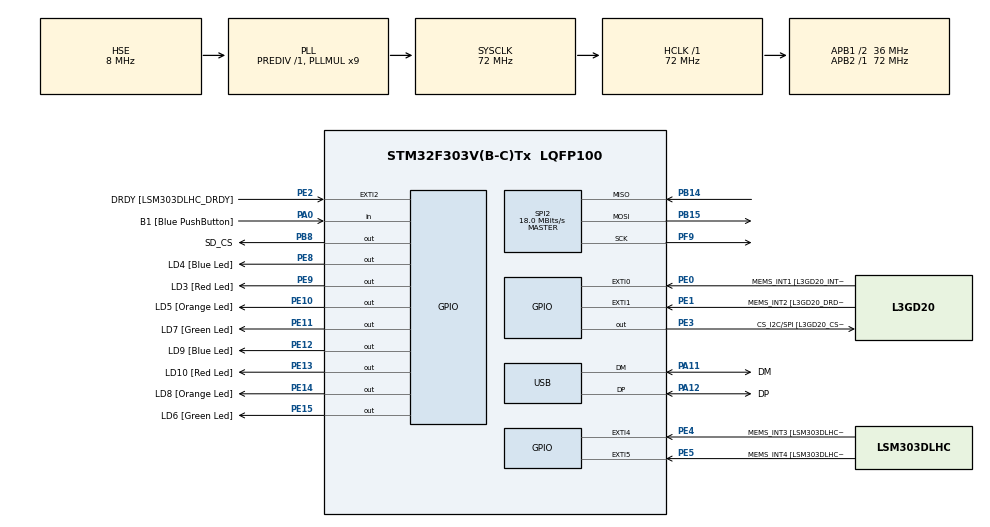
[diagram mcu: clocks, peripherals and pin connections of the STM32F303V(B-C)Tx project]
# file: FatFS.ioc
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Dma.Request0=SPI2_RX
Dma.Request1=SPI2_TX
Dma.SPI2_RX.0.Direction=DMA_PERIPH_TO_MEMORY
Dma.SPI2_RX.0.Instance=DMA1_Channel4
Dma.SPI2_RX.0.MemDataAlignment=DMA_MDATAALIGN_BYTE
Dma.SPI2_RX.0.MemInc=DMA_MINC_ENABLE
Dma.SPI2_RX.0.Mode=DMA_NORMAL
Dma.SPI2_RX.0.NoTestForDmaSupport=false
Dma.SPI2_RX.0.PeriphDataAlignment=DMA_PDATAALIGN_BYTE
Dma.SPI2_RX.0.PeriphInc=DMA_PINC_DISABLE
Dma.SPI2_RX.0.Priority=DMA_PRIORITY_LOW
Dma.SPI2_TX.1.Direction=DMA_MEMORY_TO_PERIPH
Dma.SPI2_TX.1.Instance=DMA1_Channel5
Dma.SPI2_TX.1.MemDataAlignment=DMA_MDATAALIGN_BYTE
Dma.SPI2_TX.1.MemInc=DMA_MINC_ENABLE
Dma.SPI2_TX.1.Mode=DMA_NORMAL
Dma.SPI2_TX.1.NoTestForDmaSupport=false
Dma.SPI2_TX.1.PeriphDataAlignment=DMA_PDATAALIGN_BYTE
Dma.SPI2_TX.1.PeriphInc=DMA_PINC_DISABLE
Dma.SPI2_TX.1.Priority=DMA_PRIORITY_LOW
Mcu.Family=STM32F3
Mcu.Name=STM32F303V(B-C)Tx
Mcu.Package=LQFP100
NVIC.DMA1_Channel4_IRQn=true\:0\:0\:false\:false\:true
NVIC.DMA1_Channel5_IRQn=true\:0\:0\:false\:false\:true
NVIC.PriorityGroup=NVIC_PRIORITYGROUP_4
NVIC.USB_LP_CAN_RX0_IRQn=true\:0\:0\:false\:false\:true
PA0.GPIO_Label=B1 [Blue PushButton]
PA0.GPIO_Mode=GPIO_MODE_INPUT
PA0.GPIO_PuPd=GPIO_NOPULL
PA0.Signal=GPIO_Input
PA11.GPIO_Label=DM
PA11.Mode=Device
PA11.Signal=USB_DM
PA12.GPIO_Label=DP
PA12.Mode=Device
PA12.Signal=USB_DP
PA13.GPIO_Label=SWDIO
PA13.Signal=SYS_JTMS-SWDIO
PA14.GPIO_Label=SWCLK
PA14.Signal=SYS_JTCK-SWCLK
PA5.GPIO_Label=SPI1_SCK [L3GD20_SCL/SPC]
PA5.GPIO_Mode=GPIO_MODE_AF_PP
PA5.GPIO_PuPd=GPIO_NOPULL
PA5.GPIO_Speed=GPIO_SPEED_LOW
PA5.Signal=SPI1_SCK
PA6.GPIO_Label=SPI1_MISO [L3GD20_SA0/SDO]
PA6.GPIO_Mode=GPIO_MODE_AF_PP
PA6.GPIO_PuPd=GPIO_NOPULL
PA6.GPIO_Speed=GPIO_SPEED_LOW
PA6.Signal=SPI1_MISO
PA7.GPIO_Label=SPI1_MISO [L3GD20_SDA/SDI/SDO]
PA7.GPIO_Mode=GPIO_MODE_AF_PP
PA7.GPIO_PuPd=GPIO_NOPULL
PA7.GPIO_Speed=GPIO_SPEED_LOW
PA7.Signal=SPI1_MOSI
PB14.Mode=Full_Duplex_Master
PB14.Signal=SPI2_MISO
PB15.Mode=Full_Duplex_Master
PB15.Signal=SPI2_MOSI
PB3.GPIO_Label=SWO
PB3.Signal=SYS_JTDO-TRACESWO
PB6.GPIO_FM6=__NULL
PB6.GPIO_Label=I2C1_SCL [LSM303DLHC_SCL]
PB6.GPIO_Mode=GPIO_MODE_AF_OD
PB6.GPIO_PuPd=GPIO_NOPULL
PB6.GPIO_Speed=GPIO_SPEED_LOW
PB6.Signal=I2C1_SCL
PB7.GPIO_FM7=__NULL
PB7.GPIO_Label=I2C1_SDA [LSM303DLHC_SDA]
PB7.GPIO_Mode=GPIO_MODE_AF_OD
PB7.GPIO_PuPd=GPIO_NOPULL
PB7.GPIO_Speed=GPIO_SPEED_LOW
PB7.Signal=I2C1_SDA
PB8.GPIO_Label=SD_CS
PB8.Signal=GPIO_Output
PC14-OSC32_IN.GPIO_Label=OSC32_IN
PC14-OSC32_IN.Signal=RCC_OSC32_IN
PC15-OSC32_OUT.GPIO_Label=OSC32_OUT
PC15-OSC32_OUT.Signal=RCC_OSC32_OUT
PE0.GPIO_Label=MEMS_INT1 [L3GD20_INT1]
PE0.GPIO_ModeDefaultEXTI=GPIO_MODE_EVT_RISING
PE0.GPIO_PuPd=GPIO_NOPULL
PE0.Signal=GPXTI0
PE1.GPIO_Label=MEMS_INT2 [L3GD20_DRDY/INT2]
PE1.GPIO_ModeDefaultEXTI=GPIO_MODE_EVT_RISING
PE1.GPIO_PuPd=GPIO_NOPULL
PE1.Signal=GPXTI1
PE10.GPIO_Label=LD5 [Orange Led]
PE10.GPIO_ModeDefaultOutputPP=GPIO_MODE_OUTPUT_PP
PE10.GPIO_PuPd=GPIO_NOPULL
PE10.GPIO_Speed=GPIO_SPEED_LOW
PE10.Signal=GPIO_Output
PE11.GPIO_Label=LD7 [Green Led]
PE11.GPIO_ModeDefaultOutputPP=GPIO_MODE_OUTPUT_PP
PE11.GPIO_PuPd=GPIO_NOPULL
PE11.GPIO_Speed=GPIO_SPEED_LOW
PE11.Signal=GPIO_Output
PE12.GPIO_Label=LD9 [Blue Led]
PE12.GPIO_ModeDefaultOutputPP=GPIO_MODE_OUTPUT_PP
PE12.GPIO_PuPd=GPIO_NOPULL
PE12.GPIO_Speed=GPIO_SPEED_LOW
PE12.Signal=GPIO_Output
PE13.GPIO_Label=LD10 [Red Led]
PE13.GPIO_ModeDefaultOutputPP=GPIO_MODE_OUTPUT_PP
PE13.GPIO_PuPd=GPIO_NOPULL
PE13.GPIO_Speed=GPIO_SPEED_LOW
PE13.Signal=GPIO_Output
PE14.GPIO_Label=LD8 [Orange Led]
PE14.GPIO_ModeDefaultOutputPP=GPIO_MODE_OUTPUT_PP
PE14.GPIO_PuPd=GPIO_NOPULL
PE14.GPIO_Speed=GPIO_SPEED_LOW
PE14.Signal=GPIO_Output
PE15.GPIO_Label=LD6 [Green Led]
PE15.GPIO_ModeDefaultOutputPP=GPIO_MODE_OUTPUT_PP
PE15.GPIO_PuPd=GPIO_NOPULL
PE15.GPIO_Speed=GPIO_SPEED_LOW
PE15.Signal=GPIO_Output
PE2.GPIO_Label=DRDY [LSM303DLHC_DRDY]
PE2.GPIO_ModeDefaultEXTI=GPIO_MODE_EVT_RISING
PE2.GPIO_PuPd=GPIO_NOPULL
PE2.Signal=GPXTI2
PE3.GPIO_Label=CS_I2C/SPI [L3GD20_CS_I2C/SPI]
PE3.GPIO_ModeDefaultOutputPP=GPIO_MODE_OUTPUT_PP
PE3.GPIO_PuPd=GPIO_NOPULL
PE3.GPIO_Speed=GPIO_SPEED_LOW
PE3.Signal=GPIO_Output
PE4.GPIO_Label=MEMS_INT3 [LSM303DLHC_INT1]
PE4.GPIO_ModeDefaultEXTI=GPIO_MODE_EVT_RISING
PE4.GPIO_PuPd=GPIO_NOPULL
PE4.Signal=GPXTI4
PE5.GPIO_Label=MEMS_INT4 [LSM303DLHC_INT2]
PE5.GPIO_ModeDefaultEXTI=GPIO_MODE_EVT_RISING
PE5.GPIO_PuPd=GPIO_NOPULL
PE5.Signal=GPXTI5
PE8.GPIO_Label=LD4 [Blue Led]
PE8.GPIO_ModeDefaultOutputPP=GPIO_MODE_OUTPUT_PP
PE8.GPIO_PuPd=GPIO_NOPULL
PE8.GPIO_Speed=GPIO_SPEED_LOW
PE8.Signal=GPIO_Output
PE9.GPIO_Label=LD3 [Red Led]
PE9.GPIO_ModeDefaultOutputPP=GPIO_MODE_OUTPUT_PP
PE9.GPIO_PuPd=GPIO_NOPULL
PE9.GPIO_Speed=GPIO_SPEED_LOW
PE9.Signal=GPIO_Output
PF0-OSC_IN.GPIO_Label=OSC_IN
PF0-OSC_IN.Mode=HSE-External-Clock-Source
PF0-OSC_IN.Signal=RCC_OSC_IN
PF1-OSC_OUT.GPIO_Label=OSC_OUT
PF1-OSC_OUT.Signal=RCC_OSC_OUT
PF9.Mode=Full_Duplex_Master
PF9.Signal=SPI2_SCK
ProjectManager.HeapSize=0x200
ProjectManager.StackSize=0x400
ProjectManager.TargetToolchain=Other Toolchains (GPDSC)
RCC.AHBFreq_Value=72000000
RCC.APB1CLKDivider=RCC_HCLK_DIV2
RCC.APB1Freq_Value=36000000
RCC.APB1TimFreq_Value=72000000
RCC.APB2Freq_Value=72000000
RCC.APB2TimFreq_Value=72000000
RCC.CortexFreq_Value=72000000
RCC.HCLKFreq_Value=72000000
RCC.HSE_VALUE=8000000
RCC.HSIState=RCC_HSI_ON
RCC.HSI_VALUE=8000000
RCC.LSE_VALUE=32768
RCC.PLLMUL=RCC_PLL_MUL9
RCC.PRESCALERUSB=RCC_USBCLKSOURCE_PLL_DIV1_5
RCC.SYSCLKFreq_VALUE=72000000
RCC.SYSCLKSourceVirtual=RCC_SYSCLKSOURCE_PLLCLK
RCC.USBFreq_Value=48000000
SPI2.CalculateBaudRate=18.0 MBits/s
SPI2.DataSize=SPI_DATASIZE_8BIT
SPI2.Mode=SPI_MODE_MASTER
USB_DEVICE.CLASS_NAME_FS=CDC
USB_DEVICE.USBD_HandleTypeDef=hUsbDeviceFS
USB_DEVICE.VirtualMode=Cdc
USB_DEVICE.VirtualModeFS=Cdc_FS
VP_FATFS_VS_Generic.Mode=User_defined
VP_USB_DEVICE_VS_USB_DEVICE_CDC_FS.Mode=CDC_FS
board=STM32F3DISCOVERY

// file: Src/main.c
/**
  ******************************************************************************
  * File Name          : main.c
  * Description        : Main program body
  ******************************************************************************
  *
  * COPYRIGHT(c) 2016 STMicroelectronics
  *
  * Redistribution and use in source and binary forms, with or without modification,
  * are permitted provided that the following conditions are met:
  *   1. Redistributions of source code must retain the above copyright notice,
  *      this list of conditions and the following disclaimer.
  *   2. Redistributions in binary form must reproduce the above copyright notice,
  *      this list of conditions and the following disclaimer in the documentation
  *      and/or other materials provided with the distribution.
  *   3. Neither the name of STMicroelectronics nor the names of its contributors
  *      may be used to endorse or promote products derived from this software
  *      without specific prior written permission.
  *
  * THIS SOFTWARE IS PROVIDED BY THE COPYRIGHT HOLDERS AND CONTRIBUTORS "AS IS"
  * AND ANY EXPRESS OR IMPLIED WARRANTIES, INCLUDING, BUT NOT LIMITED TO, THE
  * IMPLIED WARRANTIES OF MERCHANTABILITY AND FITNESS FOR A PARTICULAR PURPOSE ARE
  * DISCLAIMED. IN NO EVENT SHALL THE COPYRIGHT HOLDER OR CONTRIBUTORS BE LIABLE
  * FOR ANY DIRECT, INDIRECT, INCIDENTAL, SPECIAL, EXEMPLARY, OR CONSEQUENTIAL
  * DAMAGES (INCLUDING, BUT NOT LIMITED TO, PROCUREMENT OF SUBSTITUTE GOODS OR
  * SERVICES; LOSS OF USE, DATA, OR PROFITS; OR BUSINESS INTERRUPTION) HOWEVER
  * CAUSED AND ON ANY THEORY OF LIABILITY, WHETHER IN CONTRACT, STRICT LIABILITY,
  * OR TORT (INCLUDING NEGLIGENCE OR OTHERWISE) ARISING IN ANY WAY OUT OF THE USE
  * OF THIS SOFTWARE, EVEN IF ADVISED OF THE POSSIBILITY OF SUCH DAMAGE.
  *
  ******************************************************************************
  */
#include "stm32f3xx_hal.h"
#include "fatfs.h"
#include "usb_device.h"
#include "unistd.h"
#include "errno.h"
#include <stdio.h>

/* USER CODE BEGIN Includes */

#include "vcom.h"

/* USER CODE END Includes */

SPI_HandleTypeDef hspi2;
DMA_HandleTypeDef hdma_spi2_rx;
DMA_HandleTypeDef hdma_spi2_tx;

/* USER CODE BEGIN PV */

/* Private variables ---------------------------------------------------------*/

/* USER CODE END PV */

void SystemClock_Config(void);
static void MX_GPIO_Init(void);
static void MX_DMA_Init(void);
static void MX_SPI2_Init(void);

/* USER CODE BEGIN PFP */
/* Private function prototypes -----------------------------------------------*/

/* USER CODE END PFP */

/* USER CODE BEGIN 0 */
void free(void *p){}

void Toggle_Leds(void)
{
  static uint32_t ticks;

  if(ticks++ == 100)
    {

      HAL_GPIO_TogglePin(GPIOE,LD6_Pin);
      ticks = 0;
    }
}

int _read(int file, char *ptr, int len) {
  switch (file) {
  case STDIN_FILENO:
    len = vcom_read(ptr, len);
    break;
  default:
    errno = EBADF;
    return -1;
  }
  return len;
}

int _write(int file, char *ptr, int len) {
    int n;
    switch (file) {
    case STDOUT_FILENO: /*stdout*/
      len = vcom_write(ptr, len);
      break;
    case STDERR_FILENO: /* stderr */
      len = vcom_write(ptr, len);
      break;
    default:
      errno = EBADF;
      return -1;
    }
    return len;
}

/* USER CODE END 0 */

int main(void)
{

  /* MCU Configuration----------------------------------------------------------*/

  /* Reset of all peripherals, Initializes the Flash interface and the Systick. */
  HAL_Init();

  /* Configure the system clock */
  SystemClock_Config();

  /* Initialize all configured peripherals */
  MX_GPIO_Init();
  MX_DMA_Init();
  MX_SPI2_Init();
  MX_FATFS_Init();
  MX_USB_DEVICE_Init();

  /* USER CODE BEGIN 2 */

  FATFS Fatfs;
  FIL Fil;
  uint8_t buf[512];
  FRESULT rc;			/* Result code */
  DIR dir;			/* Directory object */
  FILINFO fno;			/* File information object */
  UINT bw, br;

  extern struct mmc_port mmc;

  //mmc_init(&hspi2, SD_CS_GPIO_Port, SD_CS_Pin,&mmc);
  rc = f_mount(&Fatfs,"",1);
  rc = f_open(&Fil, "MESSAGE.TXT", FA_READ);
  rc = f_close(&Fil);
  rc = f_open(&Fil, "HELLO.TXT", FA_WRITE | FA_CREATE_ALWAYS);
  rc = f_write(&Fil, "Hello world!\r\n", 14, &bw);
  rc = f_close(&Fil);

  /* USER CODE END 2 */

  /* Infinite loop */
  /* USER CODE BEGIN WHILE */
  while (1)
  {
    HAL_Delay(500);

    printf("opening root directory\r\n");
    rc = f_opendir(&dir, "");
    for (;;) {
      rc = f_readdir(&dir, &fno);
      if (rc || !fno.fname[0]) break;
      printf("./%s\n\r",fno.fname);
    }
    if (!rc)
      f_closedir(&dir);
    else
      printf("failed to open directory\n\r");

  /* USER CODE END WHILE */
  }

}

/** System Clock Configuration
*/
void SystemClock_Config(void)
{

  RCC_OscInitTypeDef RCC_OscInitStruct;
  RCC_ClkInitTypeDef RCC_ClkInitStruct;
  RCC_PeriphCLKInitTypeDef PeriphClkInit;

  RCC_OscInitStruct.OscillatorType = RCC_OSCILLATORTYPE_HSE;
  RCC_OscInitStruct.HSEState = RCC_HSE_BYPASS;
  RCC_OscInitStruct.HSEPredivValue = RCC_HSE_PREDIV_DIV1;
  RCC_OscInitStruct.PLL.PLLState = RCC_PLL_ON;
  RCC_OscInitStruct.PLL.PLLSource = RCC_PLLSOURCE_HSE;
  RCC_OscInitStruct.PLL.PLLMUL = RCC_PLL_MUL9;
  HAL_RCC_OscConfig(&RCC_OscInitStruct);

  RCC_ClkInitStruct.ClockType = RCC_CLOCKTYPE_HCLK|RCC_CLOCKTYPE_SYSCLK
                              |RCC_CLOCKTYPE_PCLK1|RCC_CLOCKTYPE_PCLK2;
  RCC_ClkInitStruct.SYSCLKSource = RCC_SYSCLKSOURCE_PLLCLK;
  RCC_ClkInitStruct.AHBCLKDivider = RCC_SYSCLK_DIV1;
  RCC_ClkInitStruct.APB1CLKDivider = RCC_HCLK_DIV2;
  RCC_ClkInitStruct.APB2CLKDivider = RCC_HCLK_DIV1;
  HAL_RCC_ClockConfig(&RCC_ClkInitStruct, FLASH_LATENCY_2);

  PeriphClkInit.PeriphClockSelection = RCC_PERIPHCLK_USB;
  PeriphClkInit.USBClockSelection = RCC_USBCLKSOURCE_PLL_DIV1_5;
  HAL_RCCEx_PeriphCLKConfig(&PeriphClkInit);

  HAL_SYSTICK_Config(HAL_RCC_GetHCLKFreq()/1000);

  HAL_SYSTICK_CLKSourceConfig(SYSTICK_CLKSOURCE_HCLK);

  /* SysTick_IRQn interrupt configuration */
  HAL_NVIC_SetPriority(SysTick_IRQn, 0, 0);
}

/* SPI2 init function */
void MX_SPI2_Init(void)
{

  hspi2.Instance = SPI2;
  hspi2.Init.Mode = SPI_MODE_MASTER;
  hspi2.Init.Direction = SPI_DIRECTION_2LINES;
  hspi2.Init.DataSize = SPI_DATASIZE_8BIT;
  hspi2.Init.CLKPolarity = SPI_POLARITY_LOW;
  hspi2.Init.CLKPhase = SPI_PHASE_1EDGE;
  hspi2.Init.NSS = SPI_NSS_SOFT;
  hspi2.Init.BaudRatePrescaler = SPI_BAUDRATEPRESCALER_16; // was 2
  hspi2.Init.FirstBit = SPI_FIRSTBIT_MSB;
  hspi2.Init.TIMode = SPI_TIMODE_DISABLE;
  hspi2.Init.CRCCalculation = SPI_CRCCALCULATION_DISABLE;
  hspi2.Init.CRCPolynomial = 7;
  hspi2.Init.CRCLength = SPI_CRC_LENGTH_DATASIZE;
  hspi2.Init.NSSPMode = SPI_NSS_PULSE_ENABLE;
  HAL_SPI_Init(&hspi2);

}

void MX_DMA_Init(void)
{
  /* DMA controller clock enable */
  __HAL_RCC_DMA1_CLK_ENABLE();

  /* DMA interrupt init */
  /* DMA1_Channel4_IRQn interrupt configuration */
  HAL_NVIC_SetPriority(DMA1_Channel4_IRQn, 0, 0);
  HAL_NVIC_EnableIRQ(DMA1_Channel4_IRQn);
  /* DMA1_Channel5_IRQn interrupt configuration */
  HAL_NVIC_SetPriority(DMA1_Channel5_IRQn, 0, 0);
  HAL_NVIC_EnableIRQ(DMA1_Channel5_IRQn);

}

/** Configure pins as
        * Analog
        * Input
        * Output
        * EVENT_OUT
        * EXTI
     PA5   ------> SPI1_SCK
     PA6   ------> SPI1_MISO
     PA7   ------> SPI1_MOSI
     PB6   ------> I2C1_SCL
     PB7   ------> I2C1_SDA
*/
void MX_GPIO_Init(void)
{

  GPIO_InitTypeDef GPIO_InitStruct;

  /* GPIO Ports Clock Enable */
  __HAL_RCC_GPIOE_CLK_ENABLE();
  __HAL_RCC_GPIOC_CLK_ENABLE();
  __HAL_RCC_GPIOF_CLK_ENABLE();
  __HAL_RCC_GPIOA_CLK_ENABLE();
  __HAL_RCC_GPIOB_CLK_ENABLE();

  /*Configure GPIO pins : DRDY_Pin MEMS_INT3_Pin MEMS_INT4_Pin MEMS_INT1_Pin
                           MEMS_INT2_Pin */
  GPIO_InitStruct.Pin = DRDY_Pin|MEMS_INT3_Pin|MEMS_INT4_Pin|MEMS_INT1_Pin
                          |MEMS_INT2_Pin;
  GPIO_InitStruct.Mode = GPIO_MODE_EVT_RISING;
  GPIO_InitStruct.Pull = GPIO_NOPULL;
  HAL_GPIO_Init(GPIOE, &GPIO_InitStruct);

  /*Configure GPIO pins : CS_I2C_SPI_Pin LD4_Pin LD3_Pin LD5_Pin
                           LD7_Pin LD9_Pin LD10_Pin LD8_Pin
                           LD6_Pin */
  GPIO_InitStruct.Pin = CS_I2C_SPI_Pin|LD4_Pin|LD3_Pin|LD5_Pin
                          |LD7_Pin|LD9_Pin|LD10_Pin|LD8_Pin
                          |LD6_Pin;
  GPIO_InitStruct.Mode = GPIO_MODE_OUTPUT_PP;
  GPIO_InitStruct.Pull = GPIO_NOPULL;
  GPIO_InitStruct.Speed = GPIO_SPEED_LOW;
  HAL_GPIO_Init(GPIOE, &GPIO_InitStruct);

  /*Configure GPIO pin : B1_Pin */
  GPIO_InitStruct.Pin = B1_Pin;
  GPIO_InitStruct.Mode = GPIO_MODE_INPUT;
  GPIO_InitStruct.Pull = GPIO_NOPULL;
  HAL_GPIO_Init(B1_GPIO_Port, &GPIO_InitStruct);

  /*Configure GPIO pins : PA5 PA6 SPI1_MISO_Pin */
  GPIO_InitStruct.Pin = GPIO_PIN_5|GPIO_PIN_6|SPI1_MISO_Pin;
  GPIO_InitStruct.Mode = GPIO_MODE_AF_PP;
  GPIO_InitStruct.Pull = GPIO_NOPULL;
  GPIO_InitStruct.Speed = GPIO_SPEED_LOW;
  GPIO_InitStruct.Alternate = GPIO_AF5_SPI1;
  HAL_GPIO_Init(GPIOA, &GPIO_InitStruct);

  /*Configure GPIO pins : PB6 PB7 */
  GPIO_InitStruct.Pin = GPIO_PIN_6|GPIO_PIN_7;
  GPIO_InitStruct.Mode = GPIO_MODE_AF_OD;
  GPIO_InitStruct.Pull = GPIO_PULLUP;
  GPIO_InitStruct.Speed = GPIO_SPEED_LOW;
  GPIO_InitStruct.Alternate = GPIO_AF4_I2C1;
  HAL_GPIO_Init(GPIOB, &GPIO_InitStruct);

  /*Configure GPIO pin : SD_CS_Pin */
  GPIO_InitStruct.Pin = SD_CS_Pin;
  GPIO_InitStruct.Mode = GPIO_MODE_OUTPUT_PP;
  GPIO_InitStruct.Pull = GPIO_NOPULL;
  GPIO_InitStruct.Speed = GPIO_SPEED_FREQ_LOW;
  HAL_GPIO_Init(SD_CS_GPIO_Port, &GPIO_InitStruct);

  /*Configure GPIO pin Output Level */
  HAL_GPIO_WritePin(GPIOE, CS_I2C_SPI_Pin|LD4_Pin|LD3_Pin|LD5_Pin
                          |LD7_Pin|LD9_Pin|LD10_Pin|LD8_Pin
                          |LD6_Pin, GPIO_PIN_RESET);

  /*Configure GPIO pin Output Level */
  HAL_GPIO_WritePin(SD_CS_GPIO_Port, SD_CS_Pin, GPIO_PIN_SET);
}

/************************ (C) COPYRIGHT STMicroelectronics *****END OF FILE****/
